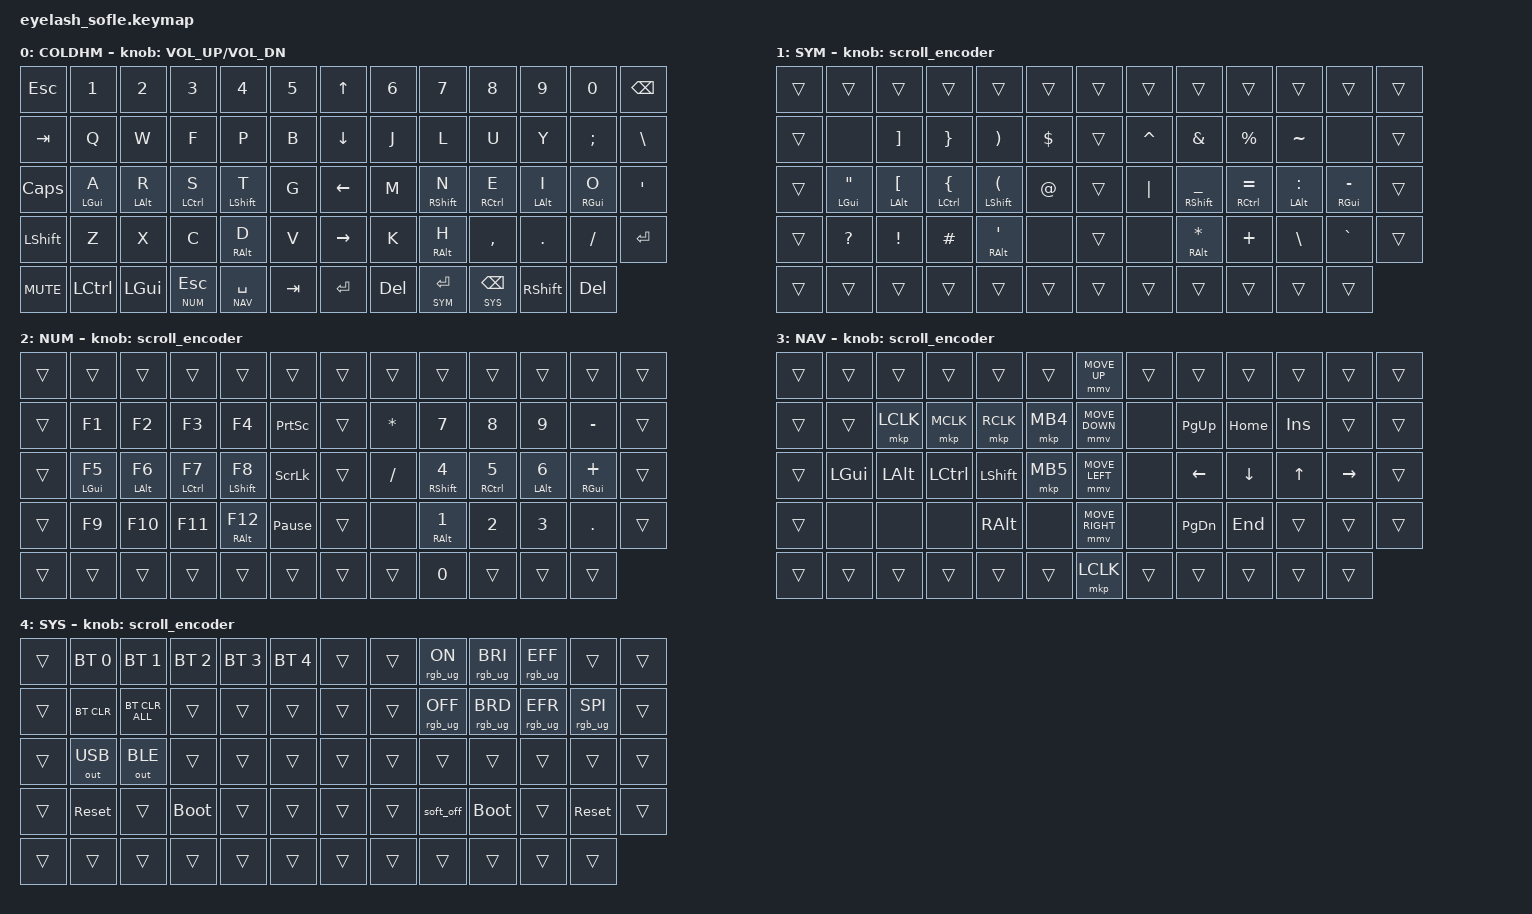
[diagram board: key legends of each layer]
#define ZMK_POINTING_DEFAULT_MOVE_VAL 1200
#define ZMK_POINTING_DEFAULT_SCRL_VAL 25

#include <input/processors.dtsi>
#include <zephyr/dt-bindings/input/input-event-codes.h>
#include <behaviors.dtsi>
#include <dt-bindings/zmk/bt.h>
#include <dt-bindings/zmk/keys.h>
#include <dt-bindings/zmk/outputs.h>
#include <dt-bindings/zmk/pointing.h>
#include <dt-bindings/zmk/rgb.h>

// Layer definitions
#define COLDHM 0
#define SYM 1
#define NUM 2
#define NAV 3
#define SYS 4


&mmv_input_listener { input-processors = <&zip_xy_scaler 2 1>; };

&msc_input_listener { input-processors = <&zip_scroll_scaler 2 1>; };

&msc {
    acceleration-exponent = <1>;
    time-to-max-speed-ms = <100>;
    delay-ms = <0>;
};

&mmv {
    time-to-max-speed-ms = <500>;
    acceleration-exponent = <1>;
    trigger-period-ms = <16>;
};

&soft_off { hold-time-ms = <2000>; };

/ {
    scroll_encoder: scroll_encoder {
        compatible = "zmk,behavior-sensor-rotate";
        #sensor-binding-cells = <0>;
        bindings = <&msc SCRL_DOWN>, <&msc SCRL_UP>;
        tap-ms = <100>;
    };

    behaviors {
        hm: homerow_mods {
            compatible = "zmk,behavior-hold-tap";
            #binding-cells = <2>;
            tapping-term-ms = <200>;
            quick-tap-ms = <175>;
            require-prior-idle-ms = <150>;
            flavor = "balanced";
            bindings = <&kp>, <&kp>;
        };
    };

    combos {
        compatible = "zmk,combos";

        caps_lock {
            bindings = <&kp CAPS>;
            key-positions = <16 22>; // F & U positions in COLDHM
        };

        enter {
            bindings = <&kp ENTER>;
            key-positions = <17 21>; // P & L positions in COLDHM
        };
    };

    keymap {
        compatible = "zmk,keymap";

        // Layer 0: COLDHM (Colemak-DHm with home mods)
        coldhm_layer {
            bindings = <
&kp ESC     &kp N1       &kp N2        &kp N3         &kp N4            &kp N5          &kp UP_ARROW     &kp N6     &kp N7            &kp N8            &kp N9          &kp N0        &kp BACKSPACE
&kp TAB     &kp Q        &kp W         &kp F          &kp P             &kp B           &kp DOWN_ARROW   &kp J      &kp L             &kp U             &kp Y           &kp SEMI      &kp BSLH
&kp CAPS    &hm LGUI A   &hm LALT R    &hm LCTRL S    &hm LSHFT T       &kp G           &kp LEFT_ARROW   &kp M      &hm RSHFT N       &hm RCTRL E       &hm LALT I      &hm RGUI O    &kp APOS
&kp LSHFT   &kp Z        &kp X         &kp C          &hm RALT D        &kp V           &kp RIGHT_ARROW  &kp K      &hm RALT H        &kp COMMA         &kp DOT         &kp FSLH      &kp ENTER
&kp C_MUTE  &kp LCTRL    &kp LEFT_GUI  &lt NUM ESC    &lt NAV SPACE     &kp TAB         &kp ENTER        &kp DELETE &lt SYM ENTER     &lt SYS BACKSPACE &kp RSHFT       &kp DELETE
            >;
            sensor-bindings = <&inc_dec_kp C_VOLUME_UP C_VOL_DN>;
            display-name = "COLDHM";
        };

        // Layer 1: SYM (Symbols)
        sym_layer {
            bindings = <
&trans  &trans        &trans        &trans         &trans           &trans     &trans  &trans       &trans           &trans         &trans        &trans        &trans
&trans  &none         &kp RBKT      &kp RBRC       &kp RPAR         &kp DLLR   &trans  &kp CARET    &kp AMPS         &kp PRCNT      &kp TILDE     &none         &trans
&trans  &hm LGUI DQT  &hm LALT LBKT &hm LCTRL LBRC &hm LSHFT LPAR   &kp AT     &trans  &kp PIPE     &hm RSHFT UNDER  &hm RCTRL EQUAL &hm LALT COLON &hm RGUI MINUS &trans
&trans  &kp QMARK     &kp EXCL      &kp HASH       &hm RALT APOS    &none      &trans  &none        &hm RALT STAR    &kp PLUS       &kp BSLH      &kp GRAVE     &trans
&trans  &trans        &trans        &trans         &trans           &trans     &trans  &trans       &trans           &trans         &trans        &trans
            >;
            sensor-bindings = <&scroll_encoder>;
            display-name = "SYM";
        };

        // Layer 2: NUM (Numbers and Function keys)
        num_layer {
            bindings = <
&trans  &trans       &trans       &trans        &trans        &trans        &trans  &trans     &trans        &trans        &trans        &trans        &trans
&trans  &kp F1       &kp F2       &kp F3        &kp F4        &kp PSCRN     &trans  &kp STAR   &kp N7        &kp N8        &kp N9        &kp MINUS     &trans
&trans  &hm LGUI F5  &hm LALT F6  &hm LCTRL F7  &hm LSHFT F8  &kp SLCK      &trans  &kp FSLH   &hm RSHFT N4  &hm RCTRL N5  &hm LALT N6   &hm RGUI PLUS &trans
&trans  &kp F9       &kp F10      &kp F11       &hm RALT F12  &kp PAUSE_BREAK &trans &none     &hm RALT N1   &kp N2        &kp N3        &kp DOT       &trans
&trans  &trans       &trans       &trans        &trans        &trans        &trans  &trans     &kp N0        &trans        &trans        &trans
            >;
            sensor-bindings = <&scroll_encoder>;
            display-name = "NUM";
        };

        // Layer 3: NAV (Navigation and Mouse)
        nav_layer {
            bindings = <
&trans  &trans    &trans     &trans      &trans      &trans      &mmv MOVE_UP     &trans  &trans       &trans    &trans   &trans     &trans
&trans  &trans    &mkp LCLK  &mkp MCLK   &mkp RCLK   &mkp MB4    &mmv MOVE_DOWN   &none   &kp PG_UP    &kp HOME  &kp INS  &trans     &trans
&trans  &kp LGUI  &kp LALT   &kp LCTRL   &kp LSHIFT  &mkp MB5    &mmv MOVE_LEFT   &none   &kp LEFT     &kp DOWN  &kp UP   &kp RIGHT  &trans
&trans  &none     &none      &none       &kp RALT    &none       &mmv MOVE_RIGHT  &none   &kp PG_DN    &kp END   &trans   &trans     &trans
&trans  &trans    &trans     &trans      &trans      &trans      &mkp LCLK        &trans  &trans       &trans    &trans   &trans
            >;
            sensor-bindings = <&scroll_encoder>;
            display-name = "NAV";
        };

        // Layer 4: SYS (System controls)
        sys_layer {
            bindings = <
&trans  &bt BT_SEL 0  &bt BT_SEL 1    &bt BT_SEL 2  &bt BT_SEL 3  &bt BT_SEL 4    &trans  &trans     &rgb_ug RGB_ON   &rgb_ug RGB_BRI  &rgb_ug RGB_EFF  &trans           &trans
&trans  &bt BT_CLR    &bt BT_CLR_ALL  &trans        &trans        &trans          &trans  &trans     &rgb_ug RGB_OFF  &rgb_ug RGB_BRD  &rgb_ug RGB_EFR  &rgb_ug RGB_SPI  &trans
&trans  &out OUT_USB  &out OUT_BLE    &trans        &trans        &trans          &trans  &trans     &trans           &trans           &trans           &trans           &trans
&trans  &sys_reset    &trans          &bootloader   &trans        &trans          &trans  &trans     &soft_off        &bootloader      &trans           &sys_reset       &trans
&trans  &trans        &trans          &trans        &trans        &trans          &trans  &trans     &trans           &trans           &trans           &trans
            >;
            sensor-bindings = <&scroll_encoder>;
            display-name = "SYS";
        };
    };
};
